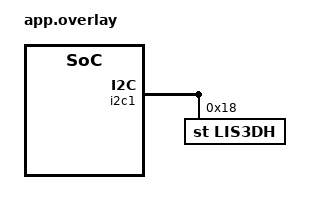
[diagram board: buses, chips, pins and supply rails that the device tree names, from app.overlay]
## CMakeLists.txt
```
# Copyright 2022 Blues Inc.  All rights reserved.
# Use of this source code is governed by licenses granted by the
# copyright holder including that found in the LICENSE file.

# SPDX-License-Identifier: MIT

# Set CMake policy behavior
cmake_minimum_required(VERSION 3.20.0)

# Load Zephyr Package
find_package(Zephyr REQUIRED HINTS $ENV{ZEPHYR_BASE})

# Basic Project Configuration
project(note-zephyr
    VERSION 1.0.0
    LANGUAGES C ASM
)
set(CMAKE_C_STANDARD 11)
set(CMAKE_C_STANDARD_REQUIRED ON)
set(CMAKE_C_EXTENSIONS ON)  # required for inline asm

# Create variables to alias path names
set(NOTE_C ${CMAKE_CURRENT_LIST_DIR}/note-c)
set(SRC ${CMAKE_CURRENT_LIST_DIR}/src)

# Set global compile settings
zephyr_get_compile_options_for_lang_as_string(C zephyr_options)
message(STATUS ${zephyr_options})
message(STATUS) # Insert blank line for readability
zephyr_compile_options(
    -ggdb
    -Og
    -Wall
    # -Wextra
    -Wno-unused-parameter
    # -Wpedantic
)
zephyr_get_compile_options_for_lang_as_string(C zephyr_options)
message(STATUS ${zephyr_options})
message(STATUS) # Insert blank line for readability

# Zephyr Example Application
target_sources(app
    PRIVATE ${SRC}/main.c
    PRIVATE ${SRC}/note_c_hooks.c
)

# Build additional 3rd party libs (e.g. `note-c`) with `app`
target_sources(app
    PRIVATE ${NOTE_C}/n_atof.c
    PRIVATE ${NOTE_C}/n_b64.c
    PRIVATE ${NOTE_C}/n_cjson.c
    PRIVATE ${NOTE_C}/n_cjson_helpers.c
    PRIVATE ${NOTE_C}/n_const.c
    PRIVATE ${NOTE_C}/n_cobs.c
    PRIVATE ${NOTE_C}/n_ftoa.c
    PRIVATE ${NOTE_C}/n_helpers.c
    PRIVATE ${NOTE_C}/n_hooks.c
    PRIVATE ${NOTE_C}/n_i2c.c
    PRIVATE ${NOTE_C}/n_md5.c
    PRIVATE ${NOTE_C}/n_printf.c
    PRIVATE ${NOTE_C}/n_request.c
    PRIVATE ${NOTE_C}/n_serial.c
    PRIVATE ${NOTE_C}/n_str.c
    PRIVATE ${NOTE_C}/n_ua.c
)

target_include_directories(app
    PRIVATE ${NOTE_C}
)

# WARNING: These options are overriden by `zephyr_compile_options()`
target_compile_options(app
    PRIVATE -ggdb
    PRIVATE -Og
    PRIVATE -Wall
    PRIVATE -Wextra
    # PRIVATE -Wpedantic
    PRIVATE -Wimplicit-fallthrough=2
    PRIVATE -Wunused-parameter
)
```

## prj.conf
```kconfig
# Provides access to onboard LED
CONFIG_GPIO=y

# Notecard Communication Channel
CONFIG_I2C=y

# Required by `note-c`
CONFIG_NEWLIB_LIBC=y

# Debugging Configuration
CONFIG_PRINTK=y

# Enable sensor APIs for the accelerometer
CONFIG_SENSOR=y

CONFIG_CBPRINTF_FP_SUPPORT=y
```

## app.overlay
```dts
&i2c1 {
  status = "okay";
  lis3dh@18 {
      compatible = "st,lis3dh", "st,lis2dh";
      label = "lis3dh";
      reg = <0x18>;
  };
};
```

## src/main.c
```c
/*
 * Copyright (c) 2023 Blues Inc.
 *
 * MIT License. Use of this source code is governed by licenses granted
 * by the copyright holder including that found in the LICENSE file.
 *
 * Author: Zachary J. Fields
 */

// Include Zephyr Headers
#include <zephyr/device.h>
#include <zephyr/drivers/gpio.h>
#include <zephyr/drivers/sensor.h>
#include <zephyr/kernel.h>

// Include C standard library headers
#include <math.h>
#include <string.h>

// Include Notecard note-c library
#include <note.h>

// Notecard node-c helper methods
#include "note_c_hooks.h"

// Uncomment the define below and replace com.your-company:your-product-name
// with your ProductUID.
// #define PRODUCT_UID "com.your-company:your-product-name"

#ifndef PRODUCT_UID
#define PRODUCT_UID ""
#pragma message "PRODUCT_UID is not defined in this example. Please ensure your Notecard has a product identifier set before running this example or define it in code here. More details at https://bit.ly/product-uid"
#endif

#define EI_CLASSIFIER_RAW_SAMPLE_COUNT           761
#define EI_CLASSIFIER_RAW_SAMPLES_PER_FRAME      3
#define EI_CLASSIFIER_DSP_INPUT_FRAME_SIZE       (EI_CLASSIFIER_RAW_SAMPLE_COUNT * EI_CLASSIFIER_RAW_SAMPLES_PER_FRAME)
#define EI_CLASSIFIER_INTERVAL_MS                1.314060446780552
#define EI_CLASSIFIER_DSP_INPUT_FRAME_SIZE_COBS (EI_CLASSIFIER_DSP_INPUT_FRAME_SIZE + 256)

#define SLEEP_TIME_MS 1000 * 60

int main(void)
{
    int ret;

    printk("[INFO] main(): Initializing...\n");

    const struct device *const sensor = DEVICE_DT_GET_ANY(st_lis3dh);
    if (sensor == NULL) {
        printk("No device found!\n");
        return 0;
    }
    if (!device_is_ready(sensor)) {
        printk("Device %s is not ready\n", sensor->name);
        return 0;
    }

    // Initialize note-c hooks
    NoteSetUserAgent((char *)"note-zephyr");
    NoteSetFnDefault(malloc, free, platform_delay, platform_millis);
    NoteSetFnDebugOutput(note_log_print);
    NoteSetFnI2C(NOTE_I2C_ADDR_DEFAULT, NOTE_I2C_MAX_DEFAULT, note_i2c_reset,
                 note_i2c_transmit, note_i2c_receive);

    // Perform a hub.set request on the Notecard using note-c
    {
        J *req = NoteNewRequest("hub.set");
        if (req)
        {
            JAddStringToObject(req, "product", PRODUCT_UID);
            JAddStringToObject(req, "mode", "continuous");
            JAddStringToObject(req, "sn", "your-device-name");
            if (!NoteRequest(req))
            {
                printk("Failed to configure Notecard with hub.set\n");
                return -1;
            }
        }
        else
        {
            printk("Failed to allocate memory.\n");
            return -1;
        }
    }

    // Perform a card.dfu request on the Notecard using note-c
    {
        J *req = NoteNewRequest("card.dfu");
        if (req)
        {
            JAddStringToObject(req, "name", "stm32");
            JAddBoolToObject(req, "on", true);
            if (!NoteRequest(req))
            {
                printk("Failed to configure with card.dfu\n");
                return -1;
            }
        }
        else
        {
            printk("Failed to allocate memory.\n");
            return -1;
        }
    }

    // Application Loop
    printk("[INFO] main(): Entering loop...\n");

    float *buffer = (float *)malloc(EI_CLASSIFIER_DSP_INPUT_FRAME_SIZE_COBS
        * sizeof(float));
    if (!buffer){
        printk("Failed to allocate memory for classifier buffer.\n");
        return -1;
    }
    memset(buffer, 0, EI_CLASSIFIER_DSP_INPUT_FRAME_SIZE_COBS
        * sizeof(float));

    while (1)
    {
        struct sensor_value accelerometerData[3];

        for (size_t ix = 0; ix < (EI_CLASSIFIER_DSP_INPUT_FRAME_SIZE - 2);
            ix += EI_CLASSIFIER_RAW_SAMPLES_PER_FRAME)
        {
            // Determine the next tick (and then sleep later)
            uint32_t next_tick_ms = NoteGetMs() + EI_CLASSIFIER_INTERVAL_MS;

            int rc = sensor_sample_fetch(sensor);
            if (rc != 0) {
                printk("Failed to fetch sensor data (error: %d)\n", rc);
                continue;
            }

            rc = sensor_channel_get(sensor, SENSOR_CHAN_ACCEL_XYZ, accelerometerData);
            if (rc != 0) {
                printk("Failed to get sensor data (error: %d)\n", rc);
                continue;
            }

            float x = sensor_value_to_float(&accelerometerData[0]);
            float y = sensor_value_to_float(&accelerometerData[1]);
            float z = sensor_value_to_float(&accelerometerData[2]);
            printk("x: %f, y: %f, z: %f\n", x, y, z);

            buffer[ix] = x;
            buffer[ix + 1] = y;
            buffer[ix + 2] = z;

            int32_t delay_ms = next_tick_ms - NoteGetMs();
            NoteDelayMs(delay_ms < 2 ? delay_ms : 2);
        }

        // Send binary data to the Notecard
        NoteBinaryStoreReset();
        NoteBinaryStoreTransmit((uint8_t *)buffer,
            (EI_CLASSIFIER_DSP_INPUT_FRAME_SIZE * sizeof(float)),
            (EI_CLASSIFIER_DSP_INPUT_FRAME_SIZE_COBS * sizeof(float)),
            0);

        J *req = NoteNewRequest("web.post");
        if (req)
        {
            JAddStringToObject(req, "route", "ingest");
            JAddStringToObject(req, "content", "binary/octet-stream");
            JAddBoolToObject(req, "binary", true);
            if (!NoteRequest(req))
            {
                printk("Failed to submit Note to Notecard.\n");
                ret = -1;
                break;
            }
        }
        else
        {
            printk("Failed to allocate memory.\n");
            ret = -1;
            break;
        }

        // Wait to iterate
        k_msleep(SLEEP_TIME_MS);
    }

    free(buffer);
    return ret;
}
```
